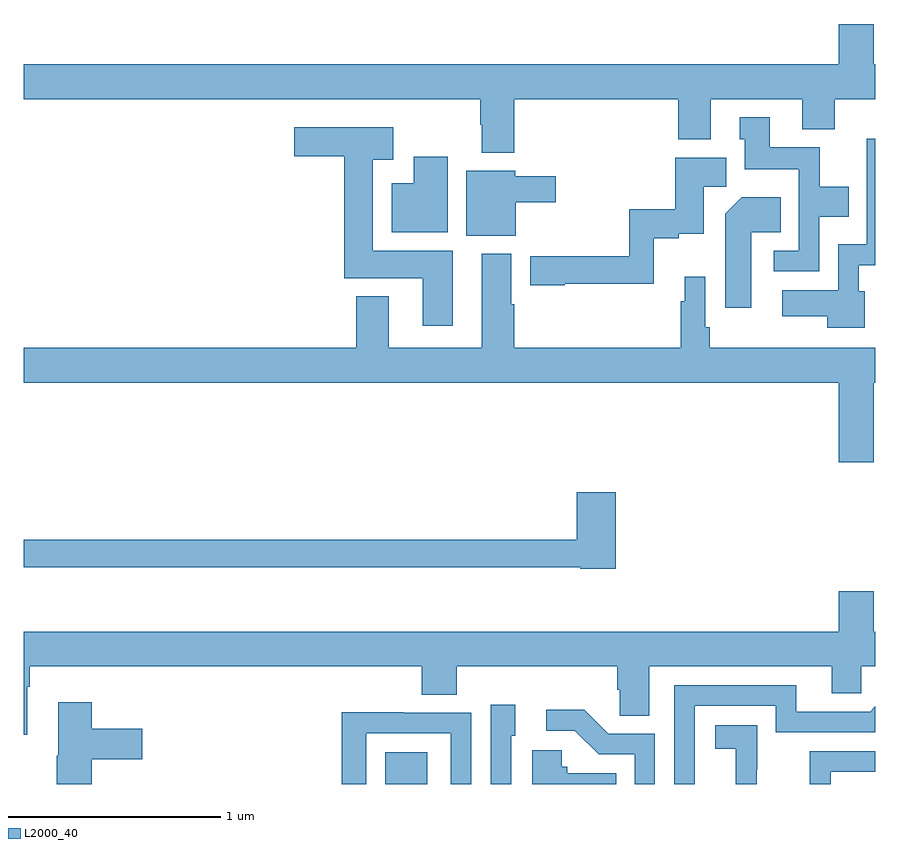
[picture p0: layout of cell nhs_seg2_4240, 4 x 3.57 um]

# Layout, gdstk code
import gdstk
lib = gdstk.Library(unit=1e-6, precision=1e-09)
def R(c, l, rs):  # rectangles x0, y0, x1, y1
    for r in rs: c.add(gdstk.rectangle(r[:2], r[2:], *l))
def P(c, l, *ps):  # polygons
    for p in ps: c.add(gdstk.Polygon(p, *l))
L2000_40 = (2000, 40)

nhs_seg2_4240 = lib.new_cell('nhs_seg2_4240')
R(nhs_seg2_4240, L2000_40, [(342.698,597.8,342.895,597.949)])
P(nhs_seg2_4240, L2000_40, [(343.304,601.016),(344.075,601.016),(344.075,600.827),(344.227,600.827),(344.227,601.016),(344.657,601.016),(344.657,600.875),(344.81,600.875),(344.81,601.016),(345,601.016),(345,601.18),(344.992,601.18),(344.992,601.369),(344.828,601.369),(344.828,601.18),(341,601.18),(341,601.016),(343.144,601.016),(343.144,600.896),(343.151,600.896),(343.151,600.764),(343.304,600.764)],
  [(344.736,600.464),(344.875,600.464),(344.875,600.604),(344.739,600.604),(344.739,600.79),(344.503,600.79),(344.503,600.931),(344.363,600.931),(344.363,600.828),(344.387,600.828),(344.387,600.686),(344.64,600.686),(344.64,600.303),(344.523,600.303),(344.523,600.207),(344.736,600.207)],
  [(343.015,600.304),(342.64,600.304),(342.64,600.731),(342.736,600.731),(342.736,600.883),(342.27,600.883),(342.27,600.749),(342.506,600.749),(342.506,600.176),(342.875,600.176),(342.875,599.952),(343.015,599.952)],
  [(344.95,600.114),(344.922,600.114),(344.922,600.237),(345,600.237),(345,600.829),(344.96,600.829),(344.96,600.334),(344.826,600.334),(344.826,600.118),(344.562,600.118),(344.562,599.996),(344.774,599.996),(344.774,599.942),(344.95,599.942)],
  [(342.991,600.745),(342.833,600.745),(342.833,600.622),(342.728,600.622),(342.728,600.392),(342.991,600.392)],
  [(343.542,600.15),(343.96,600.15),(343.96,600.364),(344.076,600.364),(344.076,600.383),(344.194,600.383),(344.194,600.604),(344.299,600.604),(344.299,600.742),(344.06,600.742),(344.06,600.5),(343.843,600.5),(343.843,600.278),(343.38,600.278),(343.38,600.142),(343.542,600.142)],
  [(343.312,600.533),(343.498,600.533),(343.498,600.655),(343.308,600.655),(343.308,600.679),(343.079,600.679),(343.079,600.374),(343.312,600.374)],
  [(344.416,600.392),(344.555,600.392),(344.555,600.556),(344.372,600.556),(344.294,600.478),(344.294,600.036),(344.416,600.036)],
  [(344.992,599.684),(345,599.684),(345,599.848),(344.222,599.848),(344.222,599.944),(344.202,599.944),(344.202,600.181),(344.105,600.181),(344.105,600.068),(344.086,600.068),(344.086,599.848),(343.304,599.848),(343.304,600.053),(343.291,600.053),(343.291,600.289),(343.151,600.289),(343.151,599.848),(342.715,599.848),(342.715,600.091),(342.563,600.091),(342.563,599.848),(341,599.848),(341,599.684),(344.828,599.684),(344.828,599.31),(344.992,599.31)],
  [(343.781,599.17),(343.598,599.17),(343.598,598.946),(341,598.946),(341,598.818),(343.614,598.818),(343.614,598.81),(343.781,598.81)],
  [(341.017,598.256),(341.03,598.256),(341.03,598.352),(342.869,598.352),(342.869,598.219),(343.034,598.219),(343.034,598.352),(343.787,598.352),(343.787,598.243),(343.8,598.243),(343.8,598.12),(343.939,598.12),(343.939,598.352),(344.795,598.352),(344.795,598.225),(344.934,598.225),(344.934,598.352),(345,598.352),(345,598.516),(344.992,598.516),(344.992,598.705),(344.828,598.705),(344.828,598.516),(341,598.516),(341,598.032),(341.017,598.032)],
  [(344.151,598.167),(344.532,598.167),(344.532,598.044),(345,598.044),(345,598.164),(344.976,598.14),(344.629,598.14),(344.629,598.263),(344.055,598.263),(344.055,597.8),(344.151,597.8)],
  [(341.321,597.917),(341.557,597.917),(341.557,598.059),(341.321,598.059),(341.321,598.183),(341.162,598.183),(341.162,597.933),(341.155,597.933),(341.155,597.8),(341.321,597.8)],
  [(343.29,598.026),(343.309,598.026),(343.309,598.171),(343.194,598.171),(343.194,597.8),(343.29,597.8)],
  [(343.965,598.035),(343.746,598.035),(343.633,598.148),(343.455,598.148),(343.455,598.05),(343.589,598.05),(343.7,597.939),(343.869,597.939),(343.869,597.8),(343.965,597.8)],
  [(342.609,598.038),(343.005,598.038),(343.005,597.8),(343.101,597.8),(343.101,598.134),(342.785,598.134),(342.785,598.136),(342.493,598.136),(342.493,597.8),(342.609,597.8)],
  [(344.444,597.869),(344.445,597.869),(344.445,598.075),(344.247,598.075),(344.247,597.965),(344.345,597.965),(344.345,597.8),(344.444,597.8)],
  [(343.784,597.85),(343.554,597.85),(343.554,597.882),(343.527,597.882),(343.527,597.958),(343.388,597.958),(343.388,597.8),(343.784,597.8)],
  [(344.79,597.858),(345,597.858),(345,597.954),(344.692,597.954),(344.692,597.8),(344.79,597.8)])

lib.write_gds('nhs_seg2_4240.gds')
